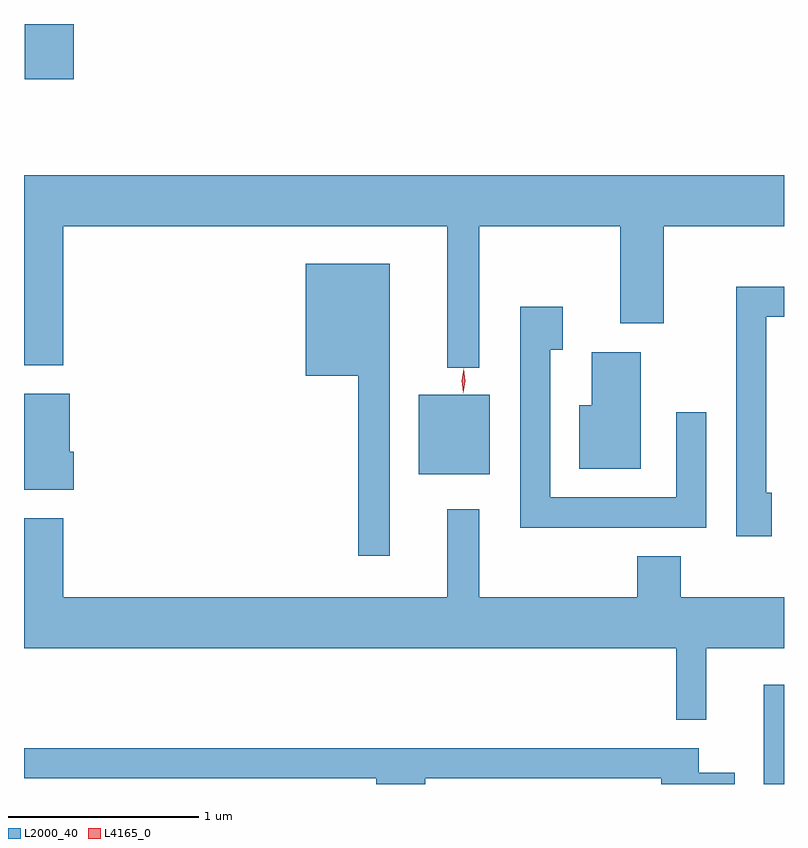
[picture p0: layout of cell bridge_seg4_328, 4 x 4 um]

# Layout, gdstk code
import gdstk
lib = gdstk.Library(unit=1e-6, precision=1e-09)
def R(c, l, rs):  # rectangles x0, y0, x1, y1
    for r in rs: c.add(gdstk.rectangle(r[:2], r[2:], *l))
def P(c, l, *ps):  # polygons
    for p in ps: c.add(gdstk.Polygon(p, *l))
L2000_40 = (2000, 40)
L4165_0 = (4165, 0)

bridge_seg4_328 = lib.new_cell('bridge_seg4_328')
R(bridge_seg4_328, L2000_40, [(681.656,1320.661,681.763,1321.183), (679.841,1322.291,680.214,1322.709), (677.766,1324.371,678.024,1324.661)])
P(bridge_seg4_328, L2000_40, [(680.159,1323.596),(680.901,1323.596),(680.901,1323.086),(681.129,1323.086),(681.129,1323.596),(681.763,1323.596),(681.763,1323.864),(677.763,1323.864),(677.763,1322.866),(677.969,1322.866),(677.969,1323.596),(679.991,1323.596),(679.991,1322.853),(680.159,1322.853)],
  [(679.689,1323.399),(679.246,1323.399),(679.246,1322.811),(679.521,1322.811),(679.521,1321.863),(679.689,1321.863)],
  [(681.699,1322.194),(681.669,1322.194),(681.669,1323.121),(681.763,1323.121),(681.763,1323.279),(681.511,1323.279),(681.511,1321.966),(681.699,1321.966)],
  [(681.354,1322.618),(681.196,1322.618),(681.196,1322.169),(680.534,1322.169),(680.534,1322.946),(680.599,1322.946),(680.599,1323.174),(680.376,1323.174),(680.376,1322.011),(681.354,1322.011)],
  [(681.009,1322.934),(680.751,1322.934),(680.751,1322.654),(680.686,1322.654),(680.686,1322.321),(681.009,1322.321)],
  [(678.024,1322.409),(678.004,1322.409),(678.004,1322.714),(677.763,1322.714),(677.763,1322.211),(678.024,1322.211)],
  [(681.219,1321.859),(680.991,1321.859),(680.991,1321.644),(680.159,1321.644),(680.159,1322.108),(679.991,1322.108),(679.991,1321.644),(677.969,1321.644),(677.969,1322.059),(677.763,1322.059),(677.763,1321.376),(681.196,1321.376),(681.196,1320.998),(681.354,1320.998),(681.354,1321.376),(681.763,1321.376),(681.763,1321.644),(681.219,1321.644)],
  [(679.874,1320.691),(681.116,1320.691),(681.116,1320.661),(681.504,1320.661),(681.504,1320.719),(681.314,1320.719),(681.314,1320.849),(677.763,1320.849),(677.763,1320.691),(679.616,1320.691),(679.616,1320.661),(679.874,1320.661)])
P(bridge_seg4_328, L4165_0, [(680.075,1322.718),(680.075,1322.719),(680.066,1322.783),(680.077,1322.847),(680.077,1322.847),(680.078,1322.847),(680.086,1322.782),(680.076,1322.719)])

lib.write_gds('bridge_seg4_328.gds')
